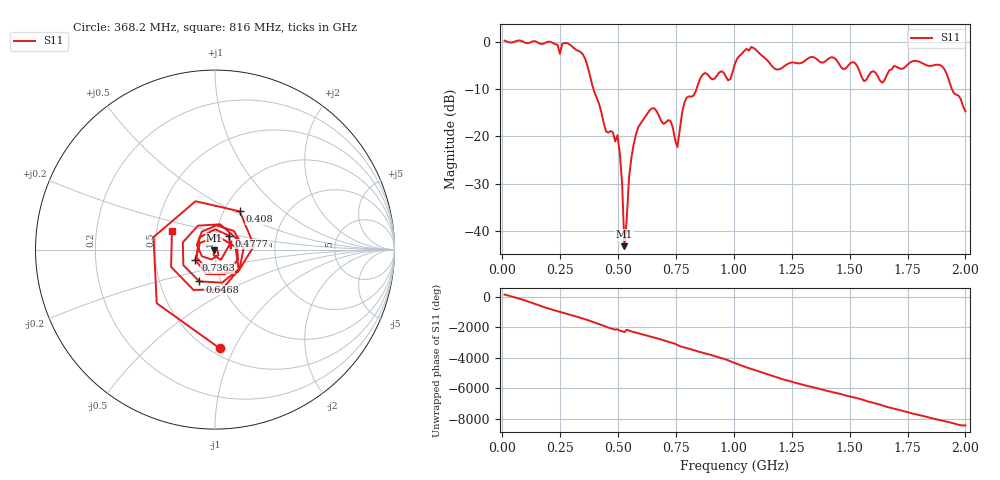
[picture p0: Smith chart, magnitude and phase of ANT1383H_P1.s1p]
!Created with skrf (http://scikit-rf.org).
# Hz S RI R 50.0
!freq ReS11 ImS11
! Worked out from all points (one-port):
!   201 points, 10 MHz to 2 GHz, reference 50 ohm
!   lowest |S11| = -43.2 dB at 527.4 MHz (marker M1), VSWR 1.01, Z = 49.4 - j0.285 ohm
!   |S11| at or under -10 dB: 393.5 MHz to 839 MHz (445.5 MHz wide, 72.3 % of centre); 1.941 GHz to end of sweep
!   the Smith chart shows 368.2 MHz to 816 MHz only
!   S11 on the Smith chart (normalised r, x): 368.2 MHz: 0.56, -0.88; 408 MHz: 1.19, +0.54; 477.6 MHz: 1.15, +0.18; 646.8 MHz: 0.79, -0.29; 736.4 MHz: 0.80, -0.09; 816 MHz: 0.60, +0.13
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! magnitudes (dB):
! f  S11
! 10 MHz  0.2
! 258.8 MHz  -0.5
! 368.2 MHz  -5.2
! 408 MHz  -11.9
! 447.8 MHz  -19.0
! 477.6 MHz  -19.2
! 497.6 MHz  -19.8
! 507.5 MHz  -23.6
! 517.5 MHz  -29.9
! 527.4 MHz  -43.2
! 547.3 MHz  -28.8
! 567.2 MHz  -21.8
! 646.8 MHz  -14.1
! 736.4 MHz  -18.2
! 756.2 MHz  -22.3
! 786.1 MHz  -13.0
! 816 MHz  -11.7
! 865.7 MHz  -7.0
! 975.1 MHz  -8.2
! 1.005 GHz  -4.7
! 1.075 GHz  -1.2
! 1.184 GHz  -5.9
! 1.254 GHz  -4.4
! 1.502 GHz  -4.6
! 1.642 GHz  -8.7
! 1.751 GHz  -4.8
! 1.901 GHz  -5.3
! 2 GHz  -14.8
